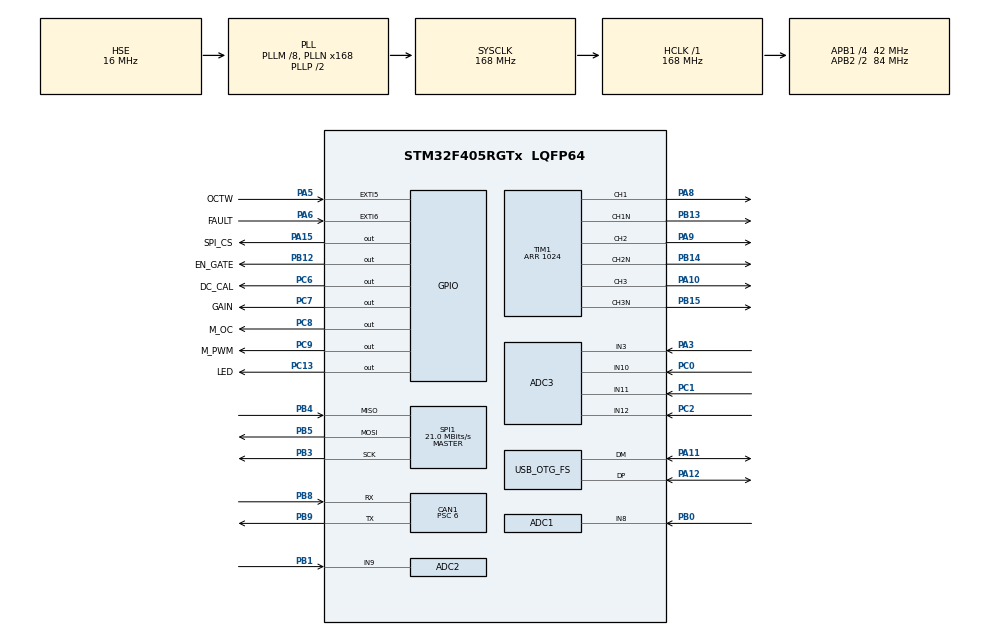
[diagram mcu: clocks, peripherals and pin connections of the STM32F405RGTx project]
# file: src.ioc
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ADC1.Channel-0\#ChannelRegularConversion=ADC_CHANNEL_8
ADC1.Channel-5\#ChannelInjectedConversion=ADC_CHANNEL_8
ADC1.ContinuousConvMode=DISABLE
ADC1.DMAContinuousRequests=DISABLE
ADC1.ExternalTrigConv=ADC_EXTERNALTRIGCONV_T1_CC1
ADC1.ExternalTrigConvEdge=ADC_EXTERNALTRIGCONVEDGE_RISING
ADC1.ExternalTrigInjecConv=ADC_EXTERNALTRIGINJECCONV_T1_CC4
ADC1.ExternalTrigInjecConvEdge=ADC_EXTERNALTRIGINJECCONVEDGE_FALLING
ADC1.InjNumberOfConversion=1
ADC1.InjectedConvMode=None
ADC1.InjectedOffset-5\#ChannelInjectedConversion=0
ADC1.InjectedRank-5\#ChannelInjectedConversion=1
ADC1.Mode=ADC_TRIPLEMODE_INJECSIMULT
ADC1.NbrOfConversion=1
ADC1.NbrOfConversionFlag=1
ADC1.Rank-0\#ChannelRegularConversion=1
ADC1.SamplingTime-0\#ChannelRegularConversion=ADC_SAMPLETIME_3CYCLES
ADC1.SamplingTime-5\#ChannelInjectedConversion=ADC_SAMPLETIME_15CYCLES
ADC1.ScanConvMode=ENABLE
ADC1.master=1
ADC2.Channel-2\#ChannelRegularConversion=ADC_CHANNEL_9
ADC2.Channel-3\#ChannelInjectedConversion=ADC_CHANNEL_9
ADC2.InjNumberOfConversion=1
ADC2.InjectedOffset-3\#ChannelInjectedConversion=0
ADC2.InjectedRank-3\#ChannelInjectedConversion=1
ADC2.Mode=ADC_TRIPLEMODE_INJECSIMULT
ADC2.NbrOfConversionFlag=1
ADC2.Rank-2\#ChannelRegularConversion=1
ADC2.SamplingTime-2\#ChannelRegularConversion=ADC_SAMPLETIME_3CYCLES
ADC2.SamplingTime-3\#ChannelInjectedConversion=ADC_SAMPLETIME_15CYCLES
ADC2.ScanConvMode=ENABLE
ADC3.Channel-0\#ChannelRegularConversion=ADC_CHANNEL_3
ADC3.Channel-1\#ChannelInjectedConversion=ADC_CHANNEL_3
ADC3.Channel-5\#ChannelInjectedConversion=ADC_CHANNEL_10
ADC3.Channel-6\#ChannelInjectedConversion=ADC_CHANNEL_11
ADC3.Channel-7\#ChannelInjectedConversion=ADC_CHANNEL_12
ADC3.InjNumberOfConversion=4
ADC3.InjectedOffset-1\#ChannelInjectedConversion=0
ADC3.InjectedOffset-5\#ChannelInjectedConversion=0
ADC3.InjectedOffset-6\#ChannelInjectedConversion=0
ADC3.InjectedOffset-7\#ChannelInjectedConversion=0
ADC3.InjectedRank-1\#ChannelInjectedConversion=1
ADC3.InjectedRank-5\#ChannelInjectedConversion=2
ADC3.InjectedRank-6\#ChannelInjectedConversion=3
ADC3.InjectedRank-7\#ChannelInjectedConversion=4
ADC3.Mode=ADC_TRIPLEMODE_INJECSIMULT
ADC3.NbrOfConversion=1
ADC3.NbrOfConversionFlag=1
ADC3.Rank-0\#ChannelRegularConversion=1
ADC3.SamplingTime-0\#ChannelRegularConversion=ADC_SAMPLETIME_3CYCLES
ADC3.SamplingTime-1\#ChannelInjectedConversion=ADC_SAMPLETIME_15CYCLES
ADC3.SamplingTime-5\#ChannelInjectedConversion=ADC_SAMPLETIME_15CYCLES
ADC3.SamplingTime-6\#ChannelInjectedConversion=ADC_SAMPLETIME_15CYCLES
ADC3.SamplingTime-7\#ChannelInjectedConversion=ADC_SAMPLETIME_15CYCLES
ADC3.ScanConvMode=ENABLE
CAN1.BS1=CAN_BS1_8TQ
CAN1.BS2=CAN_BS2_5TQ
CAN1.CalculateBaudRate=500000
CAN1.CalculateTimeBit=2000
CAN1.CalculateTimeQuantum=142.85714285714286
CAN1.NART=ENABLE
CAN1.Prescaler=6
CAN1.SJW=CAN_SJW_2TQ
Dma.Request0=SPI1_RX
Dma.Request1=SPI1_TX
Dma.SPI1_RX.0.Direction=DMA_PERIPH_TO_MEMORY
Dma.SPI1_RX.0.FIFOMode=DMA_FIFOMODE_DISABLE
Dma.SPI1_RX.0.Instance=DMA2_Stream0
Dma.SPI1_RX.0.MemDataAlignment=DMA_MDATAALIGN_BYTE
Dma.SPI1_RX.0.MemInc=DMA_MINC_ENABLE
Dma.SPI1_RX.0.Mode=DMA_NORMAL
Dma.SPI1_RX.0.PeriphDataAlignment=DMA_PDATAALIGN_BYTE
Dma.SPI1_RX.0.PeriphInc=DMA_PINC_DISABLE
Dma.SPI1_RX.0.Priority=DMA_PRIORITY_HIGH
Dma.SPI1_TX.1.Direction=DMA_MEMORY_TO_PERIPH
Dma.SPI1_TX.1.FIFOMode=DMA_FIFOMODE_DISABLE
Dma.SPI1_TX.1.Instance=DMA2_Stream3
Dma.SPI1_TX.1.MemDataAlignment=DMA_MDATAALIGN_BYTE
Dma.SPI1_TX.1.MemInc=DMA_MINC_ENABLE
Dma.SPI1_TX.1.Mode=DMA_NORMAL
Dma.SPI1_TX.1.PeriphDataAlignment=DMA_PDATAALIGN_BYTE
Dma.SPI1_TX.1.PeriphInc=DMA_PINC_DISABLE
Dma.SPI1_TX.1.Priority=DMA_PRIORITY_LOW
FREERTOS.Tasks01=controlTask,2,512,StartControlTask,Default,NULL,Dynamic,NULL,NULL;comTask,-2,512,StartComTask,Default,NULL,Dynamic,NULL,NULL
FREERTOS.configENABLE_FPU=1
Mcu.Family=STM32F4
Mcu.Name=STM32F405RGTx
Mcu.Package=LQFP64
NVIC.ADC_IRQn=true\:5\:0\:true\:false\:true\:true\:true\:true\:true
NVIC.CAN1_RX0_IRQn=true\:9\:0\:true\:false\:true\:true\:true\:true\:true
NVIC.DMA2_Stream0_IRQn=true\:6\:0\:true\:false\:true\:true\:false\:true\:true
NVIC.DMA2_Stream3_IRQn=true\:7\:0\:true\:false\:true\:true\:false\:true\:true
NVIC.OTG_FS_IRQn=true\:14\:0\:true\:false\:true\:true\:false\:true\:true
NVIC.PriorityGroup=NVIC_PRIORITYGROUP_4
NVIC.TIM8_TRG_COM_TIM14_IRQn=true\:15\:0\:false\:false\:true\:false\:false\:true\:true
NVIC.TimeBase=TIM8_TRG_COM_TIM14_IRQn
NVIC.TimeBaseIP=TIM14
PA10.Signal=S_TIM1_CH3
PA11.Mode=Device_Only
PA11.Signal=USB_OTG_FS_DM
PA12.Mode=Device_Only
PA12.Signal=USB_OTG_FS_DP
PA13.Mode=Serial_Wire
PA13.Signal=SYS_JTMS-SWDIO
PA14.Mode=Serial_Wire
PA14.Signal=SYS_JTCK-SWCLK
PA15.GPIO_Label=SPI_CS
PA15.GPIO_Speed=GPIO_SPEED_FREQ_VERY_HIGH
PA15.Signal=GPIO_Output
PA3.Signal=ADCx_IN3
PA5.GPIO_Label=OCTW
PA5.GPIO_PuPd=GPIO_PULLUP
PA5.Signal=GPXTI5
PA6.GPIO_Label=FAULT
PA6.GPIO_PuPd=GPIO_PULLUP
PA6.Signal=GPXTI6
PA8.Signal=S_TIM1_CH1
PA9.Signal=S_TIM1_CH2
PB0.Signal=ADCx_IN8
PB1.Signal=ADCx_IN9
PB12.GPIO_Label=EN_GATE
PB12.Signal=GPIO_Output
PB13.Mode=PWM Generation1 CH1 CH1N
PB13.Signal=TIM1_CH1N
PB14.Mode=PWM Generation2 CH2 CH2N
PB14.Signal=TIM1_CH2N
PB15.Mode=PWM Generation3 CH3 CH3N
PB15.Signal=TIM1_CH3N
PB3.Mode=Full_Duplex_Master
PB3.Signal=SPI1_SCK
PB4.Mode=Full_Duplex_Master
PB4.Signal=SPI1_MISO
PB5.Mode=Full_Duplex_Master
PB5.Signal=SPI1_MOSI
PB8.GPIO_PuPd=GPIO_PULLUP
PB8.Mode=CAN_Activate
PB8.Signal=CAN1_RX
PB9.Mode=CAN_Activate
PB9.Signal=CAN1_TX
PC0.Signal=ADCx_IN10
PC1.Signal=ADCx_IN11
PC13-ANTI_TAMP.GPIO_Label=LED
PC13-ANTI_TAMP.Signal=GPIO_Output
PC2.Signal=ADCx_IN12
PC6.GPIO_Label=DC_CAL
PC6.Signal=GPIO_Output
PC7.GPIO_Label=GAIN
PC7.Signal=GPIO_Output
PC8.GPIO_Label=M_OC
PC8.Signal=GPIO_Output
PC9.GPIO_Label=M_PWM
PC9.Signal=GPIO_Output
PH0-OSC_IN.Mode=HSE-External-Oscillator
PH0-OSC_IN.Signal=RCC_OSC_IN
PH1-OSC_OUT.Mode=HSE-External-Oscillator
PH1-OSC_OUT.Signal=RCC_OSC_OUT
ProjectManager.HeapSize=0x200
ProjectManager.StackSize=0x400
ProjectManager.TargetToolchain=MDK-ARM V5.32
RCC.48MHZClocksFreq_Value=48000000
RCC.AHBFreq_Value=168000000
RCC.APB1CLKDivider=RCC_HCLK_DIV4
RCC.APB1Freq_Value=42000000
RCC.APB1TimFreq_Value=84000000
RCC.APB2CLKDivider=RCC_HCLK_DIV2
RCC.APB2Freq_Value=84000000
RCC.APB2TimFreq_Value=168000000
RCC.CortexFreq_Value=168000000
RCC.HCLKFreq_Value=168000000
RCC.HSE_VALUE=16000000
RCC.HSI_VALUE=16000000
RCC.LSE_VALUE=32768
RCC.PLLM=8
RCC.PLLN=168
RCC.PLLQ=7
RCC.SYSCLKFreq_VALUE=168000000
RCC.SYSCLKSource=RCC_SYSCLKSOURCE_PLLCLK
RCC.VCOOutputFreq_Value=336000000
SH.ADCx_IN10.0=ADC3_IN10,IN10
SH.ADCx_IN11.0=ADC3_IN11,IN11
SH.ADCx_IN12.0=ADC3_IN12,IN12
SH.ADCx_IN3.0=ADC3_IN3,IN3
SH.ADCx_IN8.0=ADC1_IN8,IN8
SH.ADCx_IN9.0=ADC2_IN9,IN9
SH.S_TIM1_CH1.0=TIM1_CH1,PWM Generation1 CH1 CH1N
SH.S_TIM1_CH2.0=TIM1_CH2,PWM Generation2 CH2 CH2N
SH.S_TIM1_CH3.0=TIM1_CH3,PWM Generation3 CH3 CH3N
SPI1.BaudRatePrescaler=SPI_BAUDRATEPRESCALER_4
SPI1.CLKPhase=SPI_PHASE_2EDGE
SPI1.CalculateBaudRate=21.0 MBits/s
SPI1.Direction=SPI_DIRECTION_2LINES
SPI1.Mode=SPI_MODE_MASTER
SPI1.VirtualType=VM_MASTER
TIM1.AutomaticOutput=TIM_AUTOMATICOUTPUT_ENABLE
TIM1.Channel-PWM\ Generation1\ CH1\ CH1N=TIM_CHANNEL_1
TIM1.Channel-PWM\ Generation2\ CH2\ CH2N=TIM_CHANNEL_2
TIM1.Channel-PWM\ Generation3\ CH3\ CH3N=TIM_CHANNEL_3
TIM1.Channel-PWM\ Generation4\ No\ Output=TIM_CHANNEL_4
TIM1.CounterMode=TIM_COUNTERMODE_CENTERALIGNED1
TIM1.DeadTime=5
TIM1.OCFastMode_PWM-PWM\ Generation1\ CH1\ CH1N=TIM_OCFAST_ENABLE
TIM1.OCFastMode_PWM-PWM\ Generation2\ CH2\ CH2N=TIM_OCFAST_ENABLE
TIM1.OCFastMode_PWM-PWM\ Generation3\ CH3\ CH3N=TIM_OCFAST_ENABLE
TIM1.OCFastMode_PWM-PWM\ Generation4\ No\ Output=TIM_OCFAST_ENABLE
TIM1.OffStateIDLEMode=TIM_OSSI_ENABLE
TIM1.OffStateRunMode=TIM_OSSR_ENABLE
TIM1.Period=1024
TIM1.TIM_MasterOutputTrigger=TIM_TRGO_UPDATE
TIM10.AutoReloadPreload=TIM_AUTORELOAD_PRELOAD_ENABLE
TIM10.Prescaler=167
USB_DEVICE.CLASS_NAME_FS=CDC
USB_DEVICE.PRODUCT_STRING_CDC_FS=ESC ComPort
USB_DEVICE.VID-CDC_FS=1156
USB_DEVICE.VirtualMode-CDC_FS=Cdc
USB_DEVICE.VirtualModeFS=Cdc_FS
USB_OTG_FS.VirtualMode=Device_Only
VP_FREERTOS_VS_CMSIS_V1.Mode=CMSIS_V1
VP_SYS_VS_tim14.Mode=TIM14
VP_TIM10_VS_ClockSourceINT.Mode=Enable_Timer
VP_TIM1_VS_ClockSourceINT.Mode=Internal
VP_TIM1_VS_no_output4.Mode=PWM Generation4 No Output
VP_USB_DEVICE_VS_USB_DEVICE_CDC_FS.Mode=CDC_FS
board=custom

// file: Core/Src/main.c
/* USER CODE BEGIN Header */
/**
  ******************************************************************************
  * @file           : main.c
  * @brief          : Main program body
  ******************************************************************************
  * @attention
  *
  * Copyright (c) 2025 STMicroelectronics.
  * All rights reserved.
  *
  * This software is licensed under terms that can be found in the LICENSE file
  * in the root directory of this software component.
  * If no LICENSE file comes with this software, it is provided AS-IS.
  *
  ******************************************************************************
  */
/* USER CODE END Header */
#include "main.h"
#include "cmsis_os.h"
#include "usb_device.h"

/* USER CODE BEGIN Includes */

#include "AS5047P.h"
#include "DRV8302.h"
#include "FOC_utils.h"
#include "bldc_midi.h"
#include "flash.h"
#include "controller_app.h"
#include "CAN.h"
#include <stdio.h>
#include <math.h>
#include "sliding_mode_observer.h"

/* USER CODE END Includes */

/* USER CODE BEGIN PM */

// #define BLDC_PWM_FREQ AUDIO_SAMPLE_RATE
#define BLDC_PWM_FREQ 10000
#define R_SHUNT	0.001f
#define V_OFFSET_A	1.645f
#define V_OFFSET_B	1.657f
#define POLE_PAIR	(7)
#define SPEED_CONTROL_CYCLE	10
#define FOC_TS (1.0f / (float)BLDC_PWM_FREQ)

#define SENSORLESS_MODE

/* USER CODE END PM */

ADC_HandleTypeDef hadc1;
ADC_HandleTypeDef hadc2;
ADC_HandleTypeDef hadc3;

CAN_HandleTypeDef hcan1;

SPI_HandleTypeDef hspi1;
DMA_HandleTypeDef hdma_spi1_rx;
DMA_HandleTypeDef hdma_spi1_tx;

TIM_HandleTypeDef htim1;
TIM_HandleTypeDef htim10;

osThreadId controlTaskHandle;
osThreadId comTaskHandle;
/* USER CODE BEGIN PV */

motor_config_t m_config;
foc_t hfoc;
smo_t hsmo;
DRV8302_t bldc;
AS5047P_t hencd;

float angle_deg = 0.0f;
float sp_input = 0.0f;
int start_cal = 0;
_Bool com_init_flag = 0;
_Bool calibration_flag = 0;

float raw_encd_data;

/* USER CODE END PV */

void SystemClock_Config(void);
static void MX_GPIO_Init(void);
static void MX_DMA_Init(void);
static void MX_ADC1_Init(void);
static void MX_TIM1_Init(void);
static void MX_ADC2_Init(void);
static void MX_SPI1_Init(void);
static void MX_TIM10_Init(void);
static void MX_ADC3_Init(void);
static void MX_CAN1_Init(void);
void StartControlTask(void const * argument);
void StartComTask(void const * argument);

/* USER CODE BEGIN 0 */

/******************************************************************************/

void bldc_init(void) {
  DRV8302_GPIO_MPWM_config(&bldc, M_PWM_GPIO_Port, M_PWM_Pin);
  DRV8302_GPIO_MOC_config(&bldc, M_OC_GPIO_Port, M_OC_Pin);
  DRV8302_GPIO_GAIN_config(&bldc, GAIN_GPIO_Port, GAIN_Pin);
  DRV8302_GPIO_DCCAL_config(&bldc, DC_CAL_GPIO_Port, DC_CAL_Pin);
  DRV8302_GPIO_OCTW_config(&bldc, OCTW_GPIO_Port, OCTW_Pin);
  DRV8302_GPIO_FAULT_config(&bldc, FAULT_GPIO_Port, FAULT_Pin);
  DRV8302_GPIO_ENGATE_config(&bldc, EN_GATE_GPIO_Port, EN_GATE_Pin);
  DRV8302_TIMER_config(&bldc, &htim1, BLDC_PWM_FREQ);
  DRV8302_current_sens_config(&bldc, _40VPV, R_SHUNT, V_OFFSET_A, V_OFFSET_B);
  DRV8302_set_mode(&bldc, _6_PWM_MODE, _CYCLE_MODE);

  DRV8302_init(&bldc);

  DRV8302_disable_dc_cal(&bldc);
  DRV8302_enable_gate(&bldc);

}

void control_init(void) {
  hfoc.angle_filtered = &hencd.angle_filtered;
  foc_set_torque_control_bandwidth(&hfoc, m_config.I_ctrl_bandwidth);

  hfoc.id_ctrl.out_max_dynamic = m_config.id_out_max;
  hfoc.iq_ctrl.out_max_dynamic = m_config.iq_out_max;
  pid_init(&hfoc.id_ctrl, m_config.id_kp, m_config.id_ki, 0.0f, FOC_TS, 10.0f, m_config.id_e_deadband);
  pid_init(&hfoc.iq_ctrl, m_config.iq_kp, m_config.iq_ki, 0.0f, FOC_TS, 10.0f, m_config.iq_e_deadband);

  pid_init(&hfoc.speed_ctrl, m_config.speed_kp, m_config.speed_ki, 0.0001f, FOC_TS * SPEED_CONTROL_CYCLE, m_config.speed_out_max, m_config.speed_e_deadband);
  hfoc.speed_ctrl.d_alpha_filter = 0.01f;
  pid_init(&hfoc.pos_ctrl, m_config.pos_kp, m_config.pos_ki, m_config.pos_kd, FOC_TS * SPEED_CONTROL_CYCLE, m_config.pos_out_max, m_config.pos_e_deadband);
  hfoc.pos_ctrl.d_alpha_filter = 0.85;

  foc_pwm_init(&hfoc, &(TIM1->CCR3), &(TIM1->CCR2), &(TIM1->CCR1), bldc.pwm_resolution);
  foc_motor_init(&hfoc, POLE_PAIR, 360);

  foc_sensor_init(&hfoc, m_config.encd_offset, REVERSE_DIR);
  foc_gear_reducer_init(&hfoc, 1.0f);
  foc_set_limit_current(&hfoc, 20.0);

  hfoc.Ld = m_config.Ld;
  hfoc.Lq = m_config.Lq;
  float Rs = m_config.Rs;
  float Ls = (hfoc.Ld + hfoc.Lq) / 2.0f;
  smo_init(&hsmo, Rs, Ls, POLE_PAIR, FOC_TS);

  // HFI parameter
  const float vh = 1.2f; // injection amplitude
  const float fh = 1000.0f; // injection frequency
  const float lpf_fc = 200.0f; // cut-off frequency LPF
  foc_hfi_init(&hfoc, vh, fh, lpf_fc, FOC_TS);
}

void magnetic_encoder_init(void) {
  AS5047P_config(&hencd, &hspi1, SPI_CS_GPIO_Port, SPI_CS_Pin);
  AS5047P_start(&hencd);
  HAL_Delay(10);
  AS5047P_start(&hencd);
}

/******************************************************************************/

float get_power_voltage(void) {
	static float pv_filtered = 0.0f;
  const float filter_alpha = 0.2f;

	// convert to volt
	float pv = (float)ADC3->JDR1 * ADC_2_POWER_VOLT;

  // Low-pass filter for noise reduction
	pv_filtered = (1.0f - filter_alpha) * pv_filtered + filter_alpha * pv;

	return pv_filtered;
}

void get_v_phase(foc_t *hfoc) {
  const float filter_alpha = 0.98f;

  float va = (float)ADC3->JDR2 * ADC_2_POWER_VOLT * 0.810810811;
  float vb = (float)ADC3->JDR3 * ADC_2_POWER_VOLT * 0.625;
  float vc = (float)ADC3->JDR4 * ADC_2_POWER_VOLT * 0.769230769;

  hfoc->va = (1.0f - filter_alpha) * hfoc->va + filter_alpha * va;
  hfoc->vb = (1.0f - filter_alpha) * hfoc->vb + filter_alpha * vb;
  hfoc->vc = (1.0f - filter_alpha) * hfoc->vc + filter_alpha * vc;
}

/******************************************************************************/

uint32_t get_dt_us(void) {
#if 0
  static uint32_t last_us = 0;

  uint32_t now_us = TIM10->CNT;
  uint32_t elapsed_us = now_us - last_us;
  last_us = now_us;
#else
  uint32_t elapsed_us = TIM10->CNT;
  TIM10->CNT = 0;
#endif
  return elapsed_us;
}

/******************************************************************************/

void start_measure(inject_taregt_t target) {
  hfoc.meas_inj_target = target;
  osDelay(100);
  hfoc.meas_inj_start_flag = 1;
  // waiting process
  while(hfoc.meas_inj_start_flag) {
    osDelay(1);
  }
}

int measure_R(float vdc) {
  if (hfoc.v_bus  < 10.0f) {
    return -1;
  }

  hfoc.meas_inj_amp = vdc;

  memset(Vd_buff, 0, sizeof(Vd_buff));
  memset(Id_buff, 0, sizeof(Id_buff));

  start_measure(RS);
  estimate_resistance(&hfoc);
  m_config.Rs = hfoc.Rs;

  usb_print("Estimate Resistance @(V=%.2f)\r\n"
            "Rs: %f\r\n\r\n",
            hfoc.meas_inj_amp, hfoc.Rs);

  return 0;
}

int measure_L(float f, float amp) {
  if (hfoc.v_bus  < 10.0f) {
    return -1;
  }

  hfoc.meas_inj_freq = f;
  hfoc.meas_inj_amp = amp;
  hfoc.meas_inj_omega = TWO_PI * hfoc.meas_inj_freq;

  memset(Vd_buff, 0, sizeof(Vd_buff));
  memset(Id_buff, 0, sizeof(Id_buff));
  memset(Vq_buff, 0, sizeof(Vq_buff));
  memset(Iq_buff, 0, sizeof(Iq_buff));

  start_measure(LD);
  start_measure(LQ);
  estimate_inductance(&hfoc, FOC_TS);
  m_config.Ld = hfoc.Ld;
  m_config.Lq = hfoc.Lq;

  for (int i = 0; i < MAX_I_SAMPLE; i++) {
    float buffer_val[4] = {
      Vd_buff[i], Vq_buff[i],
      Id_buff[i], Iq_buff[i]
    };
    send_data_float(buffer_val, 4);
    osDelay(1);
  }

  usb_print("Estimate Inductance @(f=%.2fHz)\r\n"
            "Ld: %f\r\n"
            "Lq: %f\r\n\r\n",
            hfoc.meas_inj_freq, hfoc.Ld, hfoc.Lq);

  return 0;
}

/******************************************************************************/

_Bool test_bw_flag = 0;
_Bool start_test_bw = 0;

void test_bandwidth(void) {
  start_test_bw = 1;
  hfoc.id_ref = 1.0f;
  hfoc.iq_ref = 0.0f;

  while (start_test_bw) {
    osDelay(1);
  }

  for (int i = 0; i < MAX_I_SAMPLE; i++) {
#if 0
    send_data_float(&Id_buff[i], 4);
#else
    char usb_buff[64];
    snprintf(usb_buff, sizeof(usb_buff), "%f\r\n", Id_buff[i]);
    CDC_Transmit_FS((uint8_t*)usb_buff, sizeof(usb_buff));
#endif
    osDelay(1);
  }

  hfoc.id_ref = 0.0f;
  hfoc.iq_ref = 0.0f;
}

void test_bw_get_sample(void) {
  static int s = 0;
  if (start_test_bw) {
    Id_buff[s] = hfoc.id_filtered;
    s++;
    if (s >= MAX_I_SAMPLE) {
      s = 0;
      start_test_bw = 0;
    }
  }
}

/******************************************************************************/

void test_openloop(void) {
  open_loop_voltage_control(&hfoc, VD_CAL, VQ_CAL, 0);
  HAL_Delay(2000);

  for (float i = 0; i < 2*PI*hfoc.pole_pairs; i+=0.1) {
    open_loop_voltage_control(&hfoc, VD_CAL, VQ_CAL, i);
    HAL_Delay(1);
  }
  open_loop_voltage_control(&hfoc, 0, 0, 0);
}

/******************************************************************************/

// platformio run --target upload
// platformio run --target clean
/* USER CODE END 0 */

int main(void)
{

  /* MCU Configuration--------------------------------------------------------*/

  /* Reset of all peripherals, Initializes the Flash interface and the Systick. */
  HAL_Init();

  /* Configure the system clock */
  SystemClock_Config();

  /* Initialize all configured peripherals */
  MX_GPIO_Init();
  MX_DMA_Init();
  MX_ADC1_Init();
  MX_TIM1_Init();
  MX_ADC2_Init();
  MX_SPI1_Init();
  MX_TIM10_Init();
  MX_ADC3_Init();
  MX_CAN1_Init();
  /* USER CODE BEGIN 2 */

  MX_USB_DEVICE_Init();

#if (__FPU_PRESENT == 1) && (__FPU_USED == 1)
  printf("FPU aktif!\n");
#else
  printf("FPU tidak aktif!\n");
#endif

  flash_read_config(&m_config);
  init_trig_lut();
  bldc_init();
  control_init();
  CAN_init(&hcan1);
#ifndef SENSORLESS_MODE
  magnetic_encoder_init();
#endif
	// current sensor
	HAL_ADCEx_InjectedStart_IT(&hadc1);
	HAL_ADCEx_InjectedStart_IT(&hadc2);
	// voltage sensor
	HAL_ADCEx_InjectedStart_IT(&hadc3);

  HAL_TIM_Base_Start(&htim10);

  // anti-shock at startup
  hfoc.control_mode = POWER_UP_MODE;

  for (int i = 0; i < 5; i++) {
    LED_GPIO_Port->BSRR = LED_Pin;
    HAL_Delay(50);
    LED_GPIO_Port->BSRR = LED_Pin<<16;
    HAL_Delay(50);
  }
  HAL_Delay(500);
  // default mode
  hfoc.control_mode = TORQUE_CONTROL_MODE;

  /* USER CODE END 2 */

  /* Create the thread(s) */
  /* definition and creation of controlTask */
  osThreadDef(controlTask, StartControlTask, osPriorityHigh, 0, 512);
  controlTaskHandle = osThreadCreate(osThread(controlTask), NULL);

  /* definition and creation of comTask */
  osThreadDef(comTask, StartComTask, osPriorityLow, 0, 512);
  comTaskHandle = osThreadCreate(osThread(comTask), NULL);

  /* Start scheduler */
  osKernelStart();

  /* We should never get here as control is now taken by the scheduler */

  /* Infinite loop */
  while (1)
  {

  }
}

void SystemClock_Config(void)
{
  RCC_OscInitTypeDef RCC_OscInitStruct = {0};
  RCC_ClkInitTypeDef RCC_ClkInitStruct = {0};

  /** Configure the main internal regulator output voltage
  */
  __HAL_RCC_PWR_CLK_ENABLE();
  __HAL_PWR_VOLTAGESCALING_CONFIG(PWR_REGULATOR_VOLTAGE_SCALE1);

  /** Initializes the RCC Oscillators according to the specified parameters
  * in the RCC_OscInitTypeDef structure.
  */
  RCC_OscInitStruct.OscillatorType = RCC_OSCILLATORTYPE_HSE;
  RCC_OscInitStruct.HSEState = RCC_HSE_ON;
  RCC_OscInitStruct.PLL.PLLState = RCC_PLL_ON;
  RCC_OscInitStruct.PLL.PLLSource = RCC_PLLSOURCE_HSE;
  RCC_OscInitStruct.PLL.PLLM = 8;
  RCC_OscInitStruct.PLL.PLLN = 168;
  RCC_OscInitStruct.PLL.PLLP = RCC_PLLP_DIV2;
  RCC_OscInitStruct.PLL.PLLQ = 7;
  if (HAL_RCC_OscConfig(&RCC_OscInitStruct) != HAL_OK)
  {
    Error_Handler();
  }

  /** Initializes the CPU, AHB and APB buses clocks
  */
  RCC_ClkInitStruct.ClockType = RCC_CLOCKTYPE_HCLK|RCC_CLOCKTYPE_SYSCLK
                              |RCC_CLOCKTYPE_PCLK1|RCC_CLOCKTYPE_PCLK2;
  RCC_ClkInitStruct.SYSCLKSource = RCC_SYSCLKSOURCE_PLLCLK;
  RCC_ClkInitStruct.AHBCLKDivider = RCC_SYSCLK_DIV1;
  RCC_ClkInitStruct.APB1CLKDivider = RCC_HCLK_DIV4;
  RCC_ClkInitStruct.APB2CLKDivider = RCC_HCLK_DIV2;

  if (HAL_RCC_ClockConfig(&RCC_ClkInitStruct, FLASH_LATENCY_5) != HAL_OK)
  {
    Error_Handler();
  }
}

static void MX_ADC1_Init(void)
{

  ADC_MultiModeTypeDef multimode = {0};
  ADC_ChannelConfTypeDef sConfig = {0};
  ADC_InjectionConfTypeDef sConfigInjected = {0};

  /** Configure the global features of the ADC (Clock, Resolution, Data Alignment and number of conversion)
  */
  hadc1.Instance = ADC1;
  hadc1.Init.ClockPrescaler = ADC_CLOCK_SYNC_PCLK_DIV4;
  hadc1.Init.Resolution = ADC_RESOLUTION_12B;
  hadc1.Init.ScanConvMode = ENABLE;
  hadc1.Init.ContinuousConvMode = DISABLE;
  hadc1.Init.DiscontinuousConvMode = DISABLE;
  hadc1.Init.ExternalTrigConvEdge = ADC_EXTERNALTRIGCONVEDGE_RISING;
  hadc1.Init.ExternalTrigConv = ADC_EXTERNALTRIGCONV_T1_CC1;
  hadc1.Init.DataAlign = ADC_DATAALIGN_RIGHT;
  hadc1.Init.NbrOfConversion = 1;
  hadc1.Init.DMAContinuousRequests = DISABLE;
  hadc1.Init.EOCSelection = ADC_EOC_SINGLE_CONV;
  if (HAL_ADC_Init(&hadc1) != HAL_OK)
  {
    Error_Handler();
  }

  /** Configure the ADC multi-mode
  */
  multimode.Mode = ADC_TRIPLEMODE_INJECSIMULT;
  multimode.TwoSamplingDelay = ADC_TWOSAMPLINGDELAY_5CYCLES;
  if (HAL_ADCEx_MultiModeConfigChannel(&hadc1, &multimode) != HAL_OK)
  {
    Error_Handler();
  }

  /** Configure for the selected ADC regular channel its corresponding rank in the sequencer and its sample time.
  */
  sConfig.Channel = ADC_CHANNEL_8;
  sConfig.Rank = 1;
  sConfig.SamplingTime = ADC_SAMPLETIME_3CYCLES;
  if (HAL_ADC_ConfigChannel(&hadc1, &sConfig) != HAL_OK)
  {
    Error_Handler();
  }

  /** Configures for the selected ADC injected channel its corresponding rank in the sequencer and its sample time
  */
  sConfigInjected.InjectedChannel = ADC_CHANNEL_8;
  sConfigInjected.InjectedRank = 1;
  sConfigInjected.InjectedNbrOfConversion = 1;
  sConfigInjected.InjectedSamplingTime = ADC_SAMPLETIME_15CYCLES;
  sConfigInjected.ExternalTrigInjecConvEdge = ADC_EXTERNALTRIGINJECCONVEDGE_FALLING;
  sConfigInjected.ExternalTrigInjecConv = ADC_EXTERNALTRIGINJECCONV_T1_CC4;
  sConfigInjected.AutoInjectedConv = DISABLE;
  sConfigInjected.InjectedDiscontinuousConvMode = DISABLE;
  sConfigInjected.InjectedOffset = 0;
  if (HAL_ADCEx_InjectedConfigChannel(&hadc1, &sConfigInjected) != HAL_OK)
  {
    Error_Handler();
  }

}

static void MX_ADC2_Init(void)
{

  ADC_ChannelConfTypeDef sConfig = {0};
  ADC_InjectionConfTypeDef sConfigInjected = {0};

  /** Configure the global features of the ADC (Clock, Resolution, Data Alignment and number of conversion)
  */
  hadc2.Instance = ADC2;
  hadc2.Init.ClockPrescaler = ADC_CLOCK_SYNC_PCLK_DIV4;
  hadc2.Init.Resolution = ADC_RESOLUTION_12B;
  hadc2.Init.ScanConvMode = ENABLE;
  hadc2.Init.ContinuousConvMode = DISABLE;
  hadc2.Init.DiscontinuousConvMode = DISABLE;
  hadc2.Init.DataAlign = ADC_DATAALIGN_RIGHT;
  hadc2.Init.NbrOfConversion = 1;
  hadc2.Init.DMAContinuousRequests = DISABLE;
  hadc2.Init.EOCSelection = ADC_EOC_SINGLE_CONV;
  if (HAL_ADC_Init(&hadc2) != HAL_OK)
  {
    Error_Handler();
  }

  /** Configure for the selected ADC regular channel its corresponding rank in the sequencer and its sample time.
  */
  sConfig.Channel = ADC_CHANNEL_9;
  sConfig.Rank = 1;
  sConfig.SamplingTime = ADC_SAMPLETIME_3CYCLES;
  if (HAL_ADC_ConfigChannel(&hadc2, &sConfig) != HAL_OK)
  {
    Error_Handler();
  }

  /** Configures for the selected ADC injected channel its corresponding rank in the sequencer and its sample time
  */
  sConfigInjected.InjectedChannel = ADC_CHANNEL_9;
  sConfigInjected.InjectedRank = 1;
  sConfigInjected.InjectedNbrOfConversion = 1;
  sConfigInjected.InjectedSamplingTime = ADC_SAMPLETIME_15CYCLES;
  sConfigInjected.AutoInjectedConv = ENABLE;
  sConfigInjected.InjectedDiscontinuousConvMode = DISABLE;
  sConfigInjected.InjectedOffset = 0;
  if (HAL_ADCEx_InjectedConfigChannel(&hadc2, &sConfigInjected) != HAL_OK)
  {
    Error_Handler();
  }

}

static void MX_ADC3_Init(void)
{

  ADC_ChannelConfTypeDef sConfig = {0};
  ADC_InjectionConfTypeDef sConfigInjected = {0};

  /** Configure the global features of the ADC (Clock, Resolution, Data Alignment and number of conversion)
  */
  hadc3.Instance = ADC3;
  hadc3.Init.ClockPrescaler = ADC_CLOCK_SYNC_PCLK_DIV4;
  hadc3.Init.Resolution = ADC_RESOLUTION_12B;
  hadc3.Init.ScanConvMode = ENABLE;
  hadc3.Init.ContinuousConvMode = DISABLE;
  hadc3.Init.DiscontinuousConvMode = DISABLE;
  hadc3.Init.DataAlign = ADC_DATAALIGN_RIGHT;
  hadc3.Init.NbrOfConversion = 1;
  hadc3.Init.DMAContinuousRequests = DISABLE;
  hadc3.Init.EOCSelection = ADC_EOC_SINGLE_CONV;
  if (HAL_ADC_Init(&hadc3) != HAL_OK)
  {
    Error_Handler();
  }

  /** Configure for the selected ADC regular channel its corresponding rank in the sequencer and its sample time.
  */
  sConfig.Channel = ADC_CHANNEL_3;
  sConfig.Rank = 1;
  sConfig.SamplingTime = ADC_SAMPLETIME_3CYCLES;
  if (HAL_ADC_ConfigChannel(&hadc3, &sConfig) != HAL_OK)
  {
    Error_Handler();
  }

  /** Configures for the selected ADC injected channel its corresponding rank in the sequencer and its sample time
  */
  sConfigInjected.InjectedChannel = ADC_CHANNEL_3;
  sConfigInjected.InjectedRank = 1;
  sConfigInjected.InjectedNbrOfConversion = 1;
  sConfigInjected.InjectedSamplingTime = ADC_SAMPLETIME_15CYCLES;
  sConfigInjected.AutoInjectedConv = ENABLE;
  sConfigInjected.InjectedDiscontinuousConvMode = DISABLE;
  sConfigInjected.InjectedOffset = 0;
  if (HAL_ADCEx_InjectedConfigChannel(&hadc3, &sConfigInjected) != HAL_OK)
  {
    Error_Handler();
  }
#if 0
  /** Configures for the selected ADC injected channel its corresponding rank in the sequencer and its sample time
  */
  sConfigInjected.InjectedChannel = ADC_CHANNEL_10;
  sConfigInjected.InjectedRank = 2;
  if (HAL_ADCEx_InjectedConfigChannel(&hadc3, &sConfigInjected) != HAL_OK)
  {
    Error_Handler();
  }

  /** Configures for the selected ADC injected channel its corresponding rank in the sequencer and its sample time
  */
  sConfigInjected.InjectedChannel = ADC_CHANNEL_11;
  sConfigInjected.InjectedRank = 3;
  if (HAL_ADCEx_InjectedConfigChannel(&hadc3, &sConfigInjected) != HAL_OK)
  {
    Error_Handler();
  }

  /** Configures for the selected ADC injected channel its corresponding rank in the sequencer and its sample time
  */
  sConfigInjected.InjectedChannel = ADC_CHANNEL_12;
  sConfigInjected.InjectedRank = 4;
  if (HAL_ADCEx_InjectedConfigChannel(&hadc3, &sConfigInjected) != HAL_OK)
  {
    Error_Handler();
  }
#endif

}

static void MX_CAN1_Init(void)
{

  hcan1.Instance = CAN1;
  hcan1.Init.Prescaler = 6;
  hcan1.Init.Mode = CAN_MODE_NORMAL;
  hcan1.Init.SyncJumpWidth = CAN_SJW_2TQ;
  hcan1.Init.TimeSeg1 = CAN_BS1_8TQ;
  hcan1.Init.TimeSeg2 = CAN_BS2_5TQ;
  hcan1.Init.TimeTriggeredMode = DISABLE;
  hcan1.Init.AutoBusOff = DISABLE;
  hcan1.Init.AutoWakeUp = DISABLE;
  hcan1.Init.AutoRetransmission = ENABLE;
  hcan1.Init.ReceiveFifoLocked = DISABLE;
  hcan1.Init.TransmitFifoPriority = DISABLE;
  if (HAL_CAN_Init(&hcan1) != HAL_OK)
  {
    Error_Handler();
  }

}

static void MX_SPI1_Init(void)
{

  /* SPI1 parameter configuration*/
  hspi1.Instance = SPI1;
  hspi1.Init.Mode = SPI_MODE_MASTER;
  hspi1.Init.Direction = SPI_DIRECTION_2LINES;
  hspi1.Init.DataSize = SPI_DATASIZE_8BIT;
  hspi1.Init.CLKPolarity = SPI_POLARITY_LOW;
  hspi1.Init.CLKPhase = SPI_PHASE_2EDGE;
  hspi1.Init.NSS = SPI_NSS_SOFT;
  hspi1.Init.BaudRatePrescaler = SPI_BAUDRATEPRESCALER_4;
  hspi1.Init.FirstBit = SPI_FIRSTBIT_MSB;
  hspi1.Init.TIMode = SPI_TIMODE_DISABLE;
  hspi1.Init.CRCCalculation = SPI_CRCCALCULATION_DISABLE;
  hspi1.Init.CRCPolynomial = 10;
  if (HAL_SPI_Init(&hspi1) != HAL_OK)
  {
    Error_Handler();
  }

}

static void MX_TIM1_Init(void)
{

  TIM_ClockConfigTypeDef sClockSourceConfig = {0};
  TIM_MasterConfigTypeDef sMasterConfig = {0};
  TIM_OC_InitTypeDef sConfigOC = {0};
  TIM_BreakDeadTimeConfigTypeDef sBreakDeadTimeConfig = {0};

  htim1.Instance = TIM1;
  htim1.Init.Prescaler = 0;
  htim1.Init.CounterMode = TIM_COUNTERMODE_CENTERALIGNED1;
  htim1.Init.Period = 1024;
  htim1.Init.ClockDivision = TIM_CLOCKDIVISION_DIV1;
  htim1.Init.RepetitionCounter = 0;
  htim1.Init.AutoReloadPreload = TIM_AUTORELOAD_PRELOAD_DISABLE;
  if (HAL_TIM_Base_Init(&htim1) != HAL_OK)
  {
    Error_Handler();
  }
  sClockSourceConfig.ClockSource = TIM_CLOCKSOURCE_INTERNAL;
  if (HAL_TIM_ConfigClockSource(&htim1, &sClockSourceConfig) != HAL_OK)
  {
    Error_Handler();
  }
  if (HAL_TIM_PWM_Init(&htim1) != HAL_OK)
  {
    Error_Handler();
  }
  sMasterConfig.MasterOutputTrigger = TIM_TRGO_UPDATE;
  sMasterConfig.MasterSlaveMode = TIM_MASTERSLAVEMODE_DISABLE;
  if (HAL_TIMEx_MasterConfigSynchronization(&htim1, &sMasterConfig) != HAL_OK)
  {
    Error_Handler();
  }
  sConfigOC.OCMode = TIM_OCMODE_PWM1;
  sConfigOC.Pulse = 0;
  sConfigOC.OCPolarity = TIM_OCPOLARITY_HIGH;
  sConfigOC.OCNPolarity = TIM_OCNPOLARITY_HIGH;
  sConfigOC.OCFastMode = TIM_OCFAST_ENABLE;
  sConfigOC.OCIdleState = TIM_OCIDLESTATE_RESET;
  sConfigOC.OCNIdleState = TIM_OCNIDLESTATE_RESET;
  if (HAL_TIM_PWM_ConfigChannel(&htim1, &sConfigOC, TIM_CHANNEL_1) != HAL_OK)
  {
    Error_Handler();
  }
  if (HAL_TIM_PWM_ConfigChannel(&htim1, &sConfigOC, TIM_CHANNEL_2) != HAL_OK)
  {
    Error_Handler();
  }
  if (HAL_TIM_PWM_ConfigChannel(&htim1, &sConfigOC, TIM_CHANNEL_3) != HAL_OK)
  {
    Error_Handler();
  }
  if (HAL_TIM_PWM_ConfigChannel(&htim1, &sConfigOC, TIM_CHANNEL_4) != HAL_OK)
  {
    Error_Handler();
  }
  sBreakDeadTimeConfig.OffStateRunMode = TIM_OSSR_ENABLE;
  sBreakDeadTimeConfig.OffStateIDLEMode = TIM_OSSI_ENABLE;
  sBreakDeadTimeConfig.LockLevel = TIM_LOCKLEVEL_OFF;
  sBreakDeadTimeConfig.DeadTime = 5;
  sBreakDeadTimeConfig.BreakState = TIM_BREAK_DISABLE;
  sBreakDeadTimeConfig.BreakPolarity = TIM_BREAKPOLARITY_HIGH;
  sBreakDeadTimeConfig.AutomaticOutput = TIM_AUTOMATICOUTPUT_ENABLE;
  if (HAL_TIMEx_ConfigBreakDeadTime(&htim1, &sBreakDeadTimeConfig) != HAL_OK)
  {
    Error_Handler();
  }
  HAL_TIM_MspPostInit(&htim1);

}

static void MX_TIM10_Init(void)
{

  htim10.Instance = TIM10;
  htim10.Init.Prescaler = 167;
  htim10.Init.CounterMode = TIM_COUNTERMODE_UP;
  htim10.Init.Period = 65535;
  htim10.Init.ClockDivision = TIM_CLOCKDIVISION_DIV1;
  htim10.Init.AutoReloadPreload = TIM_AUTORELOAD_PRELOAD_ENABLE;
  if (HAL_TIM_Base_Init(&htim10) != HAL_OK)
  {
    Error_Handler();
  }

}

static void MX_DMA_Init(void)
{

  /* DMA controller clock enable */
  __HAL_RCC_DMA2_CLK_ENABLE();

  /* DMA interrupt init */
  /* DMA2_Stream0_IRQn interrupt configuration */
  HAL_NVIC_SetPriority(DMA2_Stream0_IRQn, 6, 0);
  HAL_NVIC_EnableIRQ(DMA2_Stream0_IRQn);
  /* DMA2_Stream3_IRQn interrupt configuration */
  HAL_NVIC_SetPriority(DMA2_Stream3_IRQn, 7, 0);
  HAL_NVIC_EnableIRQ(DMA2_Stream3_IRQn);

}

static void MX_GPIO_Init(void)
{
  GPIO_InitTypeDef GPIO_InitStruct = {0};

  /* GPIO Ports Clock Enable */
  __HAL_RCC_GPIOC_CLK_ENABLE();
  __HAL_RCC_GPIOH_CLK_ENABLE();
  __HAL_RCC_GPIOA_CLK_ENABLE();
  __HAL_RCC_GPIOB_CLK_ENABLE();

  /*Configure GPIO pin Output Level */
  HAL_GPIO_WritePin(GPIOC, LED_Pin|DC_CAL_Pin|GAIN_Pin|M_OC_Pin
                          |M_PWM_Pin, GPIO_PIN_RESET);

  /*Configure GPIO pin Output Level */
  HAL_GPIO_WritePin(EN_GATE_GPIO_Port, EN_GATE_Pin, GPIO_PIN_RESET);

  /*Configure GPIO pin Output Level */
  HAL_GPIO_WritePin(SPI_CS_GPIO_Port, SPI_CS_Pin, GPIO_PIN_RESET);

  /*Configure GPIO pins : LED_Pin DC_CAL_Pin GAIN_Pin M_OC_Pin
                           M_PWM_Pin */
  GPIO_InitStruct.Pin = LED_Pin|DC_CAL_Pin|GAIN_Pin|M_OC_Pin
                          |M_PWM_Pin;
  GPIO_InitStruct.Mode = GPIO_MODE_OUTPUT_PP;
  GPIO_InitStruct.Pull = GPIO_NOPULL;
  GPIO_InitStruct.Speed = GPIO_SPEED_FREQ_LOW;
  HAL_GPIO_Init(GPIOC, &GPIO_InitStruct);

  /*Configure GPIO pins : OCTW_Pin FAULT_Pin */
  GPIO_InitStruct.Pin = OCTW_Pin|FAULT_Pin;
  GPIO_InitStruct.Mode = GPIO_MODE_IT_RISING;
  GPIO_InitStruct.Pull = GPIO_PULLUP;
  HAL_GPIO_Init(GPIOA, &GPIO_InitStruct);

  /*Configure GPIO pin : EN_GATE_Pin */
  GPIO_InitStruct.Pin = EN_GATE_Pin;
  GPIO_InitStruct.Mode = GPIO_MODE_OUTPUT_PP;
  GPIO_InitStruct.Pull = GPIO_NOPULL;
  GPIO_InitStruct.Speed = GPIO_SPEED_FREQ_LOW;
  HAL_GPIO_Init(EN_GATE_GPIO_Port, &GPIO_InitStruct);

  /*Configure GPIO pin : SPI_CS_Pin */
  GPIO_InitStruct.Pin = SPI_CS_Pin;
  GPIO_InitStruct.Mode = GPIO_MODE_OUTPUT_PP;
  GPIO_InitStruct.Pull = GPIO_NOPULL;
  GPIO_InitStruct.Speed = GPIO_SPEED_FREQ_VERY_HIGH;
  HAL_GPIO_Init(SPI_CS_GPIO_Port, &GPIO_InitStruct);

}

/* USER CODE BEGIN 4 */

static int torque_control_update(void) {
  int ret = 0;
  static uint8_t event_speed_loop_count = 0;
  DRV8302_get_current(&bldc, &hfoc.ia, &hfoc.ib);

#ifdef SENSORLESS_MODE
  static float rpm_temp = 0.0f;
  switch (hfoc.state) {
    case MOTOR_STATE_HFI: {
      smo_update_arctan(&hsmo, hfoc.v_alpha, hfoc.v_beta, hfoc.i_alpha, hfoc.i_beta);

      hfoc.e_rad = hfoc.pll.theta_est;
      rpm_temp += (hfoc.pll.omega_est * 60.0 / TWO_PI) / POLE_PAIR;
      foc_current_control_update_hfi(&hfoc, FOC_TS);
      if (fabsf(hfoc.actual_rpm) > 300) {
        // smo_reset(&hsmo);
        hfoc.state = MOTOR_STATE_SMO;
      }
      break;
    }
    case MOTOR_STATE_SMO: {
      _Bool smo_ret = smo_update_arctan(&hsmo, hfoc.v_alpha, hfoc.v_beta, hfoc.i_alpha, hfoc.i_beta);
      // float abs_rpm = fabs(smo_get_rotor_speed(&hsmo));
      if (smo_ret == 0) {
        hfoc.state = MOTOR_STATE_HFI;
        break;
      }
      hfoc.e_rad = smo_get_rotor_angle(&hsmo);
      hfoc.pll.theta_est = hfoc.e_rad;
      rpm_temp += smo_get_rotor_speed(&hsmo);
      foc_current_control_update_hfi(&hfoc, FOC_TS);
      break;
    }
  }

  // calc mechanical angle
  static float last_e_rad = 0.0f;
  static float rad_ovf = 0.0f;
  float angle_diff = hfoc.e_rad - last_e_rad;
  last_e_rad = hfoc.e_rad;

  if (angle_diff < -PI) {
    rad_ovf += 1.0f;
  }
  else if (angle_diff > PI) {
    rad_ovf -= 1.0f;
  }
  float total_e_angle = hfoc.e_rad + rad_ovf * TWO_PI;
  float mechanical_angle_deg = RAD_TO_DEG(total_e_angle) / POLE_PAIR;
  hfoc.actual_angle = mechanical_angle_deg;

  if (event_speed_loop_count >= SPEED_CONTROL_CYCLE) {
    hfoc.actual_rpm = (rpm_temp / (float)SPEED_CONTROL_CYCLE);
    rpm_temp = 0;
    event_speed_loop_count = 0;
    foc_set_flag();
    ret = 1;
  }
  event_speed_loop_count++;
#else
  hfoc.e_rad = hfoc.e_angle_rad_comp;
  foc_current_control_update(&hfoc);

  if (event_speed_loop_count > SPEED_CONTROL_CYCLE) {
    event_speed_loop_count = 0;
    uint32_t dt_us = get_dt_us();
    float rpm_encd = AS5047P_get_rpm(&hencd, dt_us);
    foc_calc_mech_rpm_encoder(&hfoc, rpm_encd);
    foc_set_flag();
    ret = 1;
  }
  event_speed_loop_count++;
#endif
  return ret;
}

void HAL_SPI_TxRxCpltCallback(SPI_HandleTypeDef *hspi) {
	if (hspi->Instance == SPI1) {
    angle_deg = AS5047P_get_degree(&hencd);
    foc_calc_electric_angle(&hfoc, DEG_TO_RAD(angle_deg));
    AS5047P_set_val_flag();
	}
}

void HAL_ADCEx_InjectedConvCpltCallback(ADC_HandleTypeDef* hadc) {
	if (hadc->Instance == ADC1) {
    DRV8302_set_adc_a(&bldc, ADC1->JDR1);
  }
	if (hadc->Instance == ADC2) {
    DRV8302_set_adc_b(&bldc, ADC2->JDR1);
  }
	if (hadc->Instance == ADC3) {

#ifndef SENSORLESS_MODE
    if (AS5047P_get_val_flag()) {
      AS5047P_reset_val_flag();
      AS5047P_start(&hencd);
    }
#endif

    hfoc.v_bus = get_power_voltage();
    // get_v_phase(&hfoc);

    switch(hfoc.control_mode) {
      case TORQUE_CONTROL_MODE: {
        hfoc.id_ref = 0.0f;
        hfoc.iq_ref = sp_input;
        torque_control_update();
        break;
      }
      case SPEED_CONTROL_MODE: {
        if (torque_control_update() == 1) {
          static float sp_rpm = 0.0f;
          const float acc_rpm = 1.0f;

          if (sp_input > sp_rpm) {
            sp_rpm += acc_rpm;
          }
          else if (sp_input < sp_rpm) {
            sp_rpm -= acc_rpm;
          }
          foc_speed_control_update(&hfoc, sp_rpm);
        }
        break;
      }
      case POSITION_CONTROL_MODE: {
        if (torque_control_update() == 1) {
#ifndef SENSORLESS_MODE
          float deg_encd = AS5047P_get_actual_degree(&hencd) * hfoc.gear_ratio;
          foc_calc_mech_pos_encoder(&hfoc, deg_encd);
#endif
          foc_position_control_update(&hfoc, sp_input);
        }
        break;
      }
      case AUDIO_MODE: {
        audio_loop(&hfoc);
        break;
      }
      case CALIBRATION_MODE: {
        DRV8302_get_current(&bldc, &hfoc.ia, &hfoc.ib);
        meas_inj_dq_process(&hfoc, FOC_TS);
        break;
      }
      case TEST_MODE: {
        DRV8302_get_current(&bldc, &hfoc.ia, &hfoc.ib);
        foc_current_control_update(&hfoc);
        test_bw_get_sample();
        break;
      }
      case POWER_UP_MODE:
        open_loop_voltage_control(&hfoc, 0.0f, 0.0f, 0.0f);
      break;
      default:
      break;
    }
	}
}
/* USER CODE END 4 */

void StartControlTask(void const * argument)
{
  /* USER CODE BEGIN 5 */
  uint32_t blink_tick = 0;
  /* Infinite loop */
  for(;;)
  {
    if (hfoc.control_mode == CALIBRATION_MODE) {
      if (start_cal == 1) {
#ifndef SENSORLESS_MODE
        foc_cal_encoder(&hfoc);
#endif

        measure_R(1.0f);
        measure_L(1000.0f, 1.2f);

#ifdef SENSORLESS_MODE
        smo_update_R_L(&hsmo, m_config.Rs, (m_config.Ld + m_config.Lq) * 0.5);
#endif
        flash_auto_tuning_torque_control(&m_config);
        hfoc.id_ctrl.kp = m_config.id_kp;
        hfoc.id_ctrl.ki = m_config.id_ki;
        hfoc.iq_ctrl.kp = m_config.iq_kp;
        hfoc.iq_ctrl.ki = m_config.iq_ki;

        start_cal = 0;
      }
    }
    else if (hfoc.control_mode == TEST_MODE) {
      if (test_bw_flag) {
        test_bandwidth();
        test_bw_flag = 0;
      }
    }

    if (HAL_GetTick() - blink_tick >= 500) {
      blink_tick = HAL_GetTick();
      HAL_GPIO_TogglePin(LED_GPIO_Port, LED_Pin);
    }
    osDelay(1);
  }
  /* USER CODE END 5 */
}

void StartComTask(void const * argument)
{
  /* USER CODE BEGIN StartComTask */

  uint32_t debug_tick = HAL_GetTick();
  uint32_t transmit_tick = HAL_GetTick();

  motor_mode_t last_mode = CALIBRATION_MODE;

  /* Infinite loop */
  for(;;)
  {
#if DEBUG_HFI
    static int sample_index = 0;
    if (hfoc.collect_sample_flag) {
      float data[16];
      uint16_t len = 0;

      if (sample_index == 0) {
        erase_graph();
        osDelay(1);
      }

      data[len++] = i_alpha_buff[sample_index];
      data[len++] = i_beta_buff[sample_index];
      data[len++] = i_alpha_l_buff[sample_index];
      data[len++] = i_beta_l_buff[sample_index];
      send_data_float(data, len);
      sample_index++;
      if (sample_index > MAX_SAMPLE_BUFF) {
        osDelay(1000);
        sample_index = 0;
        hfoc.collect_sample_flag = 0;
      }
    }
#else
    if (HAL_GetTick() - debug_tick >= 2) {
      debug_tick = HAL_GetTick();
      float data[16];
      uint16_t len = 0;

      switch (hfoc.control_mode) {
      case TORQUE_CONTROL_MODE:
        data[len++] = sp_input;
        data[len++] = hfoc.id_filtered;
        data[len++] = hfoc.iq_filtered;
        break;
      case SPEED_CONTROL_MODE:
        data[len++] = sp_input;
#ifdef SENSORLESS_MODE
        if (hfoc.state == MOTOR_STATE_HFI) {
          data[len++] = hfoc.actual_rpm;
          data[len++] = 0.0f;
        }
        else {
          data[len++] = 0.0f;
          data[len++] = hfoc.actual_rpm;
        }
#else
        data[len++] = hfoc.actual_rpm;
#endif
        break;
      case POSITION_CONTROL_MODE:
        data[len++] = sp_input;
        data[len++] = hfoc.actual_angle;
        break;
      case AUDIO_MODE:
        data[len++] = v_tone;
        break;
      case CALIBRATION_MODE:
#ifndef SENSORLESS_MODE
        data[len++] = hencd.prev_raw_angle;
        data[len++] = hencd.angle_filtered;
#endif
        break;
      case TEST_MODE:
        // data[len++] = hfoc.v_bus;
        data[len++] = hfoc.ia;
        data[len++] = hfoc.ib;
        data[len++] = hfoc.actual_angle;
        break;
      default:
      break;
      }

      send_data_float(data, len);
    }
#endif

    if (com_init_flag) {
      last_mode = -1;
      com_init_flag = 0;
    }

    if (calibration_flag) {
      last_mode = -1;
      calibration_flag = 0;
    }

    if (hfoc.control_mode != last_mode) {
      last_mode = hfoc.control_mode;
      float data[16];

      osDelay(2);
      erase_graph(); osDelay(1);
      switch (hfoc.control_mode) {
      case TORQUE_CONTROL_MODE:
        send_data_float(data, 3); osDelay(1);
        change_title("CURRENT CONTROL MODE"); osDelay(1);
        change_legend(0, "Iq_sp"); osDelay(1);
        change_legend(1, "Id"); osDelay(1);
        change_legend(2, "Iq"); osDelay(1);
        break;
      case SPEED_CONTROL_MODE:
#ifdef SENSORLESS_MODE
        send_data_float(data, 3); osDelay(1);
        change_title("SPEED CONTROL MODE"); osDelay(1);
        change_legend(0, "set point"); osDelay(1);
        change_legend(1, "rpm_hfi"); osDelay(1);
        change_legend(2, "rpm_smo"); osDelay(1);
#else
        send_data_float(data, 2); osDelay(1);
        change_title("SPEED CONTROL MODE"); osDelay(1);
        change_legend(0, "set point"); osDelay(1);
        change_legend(1, "rpm"); osDelay(1);
#endif
        break;
      case POSITION_CONTROL_MODE:
        send_data_float(data, 2); osDelay(1);
        change_title("POSITION CONTROL MODE"); osDelay(1);
        change_legend(0, "set point"); osDelay(1);
        change_legend(1, "actual angle"); osDelay(1);
        break;
      case CALIBRATION_MODE:
        // send_data_float(data, 1); osDelay(1);
        // change_title("CALIBRATION MODE"); osDelay(1);
        // change_legend(0, "error angle (rad)"); osDelay(1);
        send_data_float(data, 4); osDelay(1);
        change_title("CALIBRATION MODE"); osDelay(1);
        change_legend(0, "Vd"); osDelay(1);
        change_legend(1, "Vq"); osDelay(1);
        change_legend(2, "Id"); osDelay(1);
        change_legend(3, "Iq"); osDelay(1);
        start_cal = 1;
        break;
      case AUDIO_MODE:
        send_data_float(data, 1); osDelay(1);
        change_title("AUDIO MODE"); osDelay(1);
        change_legend(0, "vd"); osDelay(1);
        break;
      case TEST_MODE:
        send_data_float(data, 3); osDelay(1);
        change_title("TEST MODE"); osDelay(1);
        change_legend(0, "Ia"); osDelay(1);
        change_legend(1, "Ib"); osDelay(1);
        change_legend(1, "angle"); osDelay(1);
        break;
      default:
        break;
      }
    }

    if (HAL_GetTick() - transmit_tick >= 10) {
      transmit_tick = HAL_GetTick();
      uint8_t can_tx_buff[5];
      union { float f; uint8_t b[4]; } u;
      u.f = hfoc.actual_angle;
      can_tx_buff[0] = 0x30;
      can_tx_buff[1] = u.b[0];
      can_tx_buff[2] = u.b[1];
      can_tx_buff[3] = u.b[2];
      can_tx_buff[4] = u.b[3];
      CAN_Send(&hcan1, TRANSMITTER_ID, can_tx_buff, 5);
    }
    osDelay(1);
  }
  /* USER CODE END StartComTask */
}

void HAL_TIM_PeriodElapsedCallback(TIM_HandleTypeDef *htim)
{
  if (htim->Instance == TIM14) {
    HAL_IncTick();
  }
}

void Error_Handler(void)
{
  /* USER CODE BEGIN Error_Handler_Debug */
  /* User can add his own implementation to report the HAL error return state */
  __disable_irq();
  DRV8302_disable_gate(&bldc);
  while (1)
  {
    HAL_GPIO_TogglePin(LED_GPIO_Port, LED_Pin);
    HAL_Delay(200);
  }
  /* USER CODE END Error_Handler_Debug */
}
